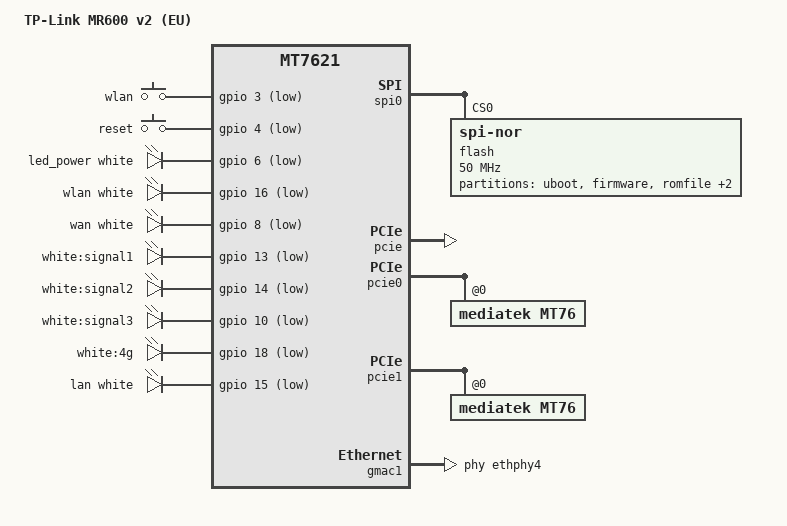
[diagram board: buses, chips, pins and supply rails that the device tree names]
// SPDX-License-Identifier: GPL-2.0-or-later

#include "mt7621.dtsi"

#include <dt-bindings/gpio/gpio.h>
#include <dt-bindings/input/input.h>
#include <dt-bindings/leds/common.h>

/ {
	compatible = "tplink,mr600-v2-eu", "mediatek,mt7621-soc";
	model = "TP-Link MR600 v2 (EU)";

	aliases {
		led-boot = &led_power;
		led-failsafe = &led_power;
		led-running = &led_power;
		led-upgrade = &led_power;
		label-mac-device = &gmac0;
	};

	chosen {
		bootargs = "console=ttyS0,115200";
	};

	keys {
		compatible = "gpio-keys";

		wlan {
			label = "wlan";
			gpios = <&gpio 3 GPIO_ACTIVE_LOW>;
			linux,code = <KEY_WLAN>;
		};

		reset {
			label = "reset";
			gpios = <&gpio 4 GPIO_ACTIVE_LOW>;
			linux,code = <KEY_RESTART>;
		};
	};

	leds {
		compatible = "gpio-leds";

		led_power: power {
			function = LED_FUNCTION_POWER;
			color = <LED_COLOR_ID_WHITE>;
			gpios = <&gpio 6 GPIO_ACTIVE_LOW>;
		};
		wlan {
			function = LED_FUNCTION_WLAN;
			color = <LED_COLOR_ID_WHITE>;
			gpios = <&gpio 16 GPIO_ACTIVE_LOW>;
			linux,default-trigger = "phy1tpt";
		};
		wan {
			function = LED_FUNCTION_WAN;
			color = <LED_COLOR_ID_WHITE>;
			gpios = <&gpio 8 GPIO_ACTIVE_LOW>;
		};

		signal1 {
			label = "white:signal1";
			gpios = <&gpio 13 GPIO_ACTIVE_LOW>;
		};

		signal2 {
			label = "white:signal2";
			gpios = <&gpio 14 GPIO_ACTIVE_LOW>;
		};

		signal3 {
			label = "white:signal3";
			gpios = <&gpio 10 GPIO_ACTIVE_LOW>;
		};

		4g {
			label = "white:4g";
			gpios = <&gpio 18 GPIO_ACTIVE_LOW>;
		};
		lan {
			function = LED_FUNCTION_LAN;
			color = <LED_COLOR_ID_WHITE>;
			gpios = <&gpio 15 GPIO_ACTIVE_LOW>;
		};
	};

};

&spi0 {
	status = "okay";

	flash@0 {
		compatible = "jedec,spi-nor";
		reg = <0>;
		spi-max-frequency = <50000000>;

		partitions {
			compatible = "fixed-partitions";
			#address-cells = <1>;
			#size-cells = <1>;

			partition@0 {
				label = "uboot";
				reg = <0x00000 0x20000>;
				read-only;
			};

			partition@20000 {
				compatible = "openwrt,uimage";
				openwrt,offset = <512>; /* account for the 512-byte long header */
				label = "firmware";
				reg = <0x20000 0xfa0000>;
			};

			partition@fc0000 {
				label = "romfile";
				reg = <0xfc0000 0x10000>;
				read-only;

				nvmem-layout {
					compatible = "fixed-layout";
					#address-cells = <1>;
					#size-cells = <1>;

					macaddr_romfile_f100: romfile@f100 {
						compatible = "mac-base";
						reg = <0xf100 0x6>;
						#nvmem-cell-cells = <1>;
					};
				};
			};

			partition@fd0000 {
				label = "config";
				reg = <0xfd0000 0x10000>;
				read-only;
			};

			partition@fe0000 {
				label = "radio";
				reg = <0xfe0000 0x10000>;
				read-only;

				nvmem-layout {
					compatible = "fixed-layout";
					#address-cells = <1>;
					#size-cells = <1>;

					eeprom_radio_0: eeprom@0 {
						reg = <0x0 0x400>;
					};

					eeprom_radio_8000: eeprom@8000 {
						reg = <0x8000 0x4da8>;
					};
				};
			};
		};
	};
};

&pcie {
	status = "okay";
};


&pcie0 {
	mt76@0,0 {
		compatible = "mediatek,mt76";
		reg = <0x0000 0 0 0 0>;
		nvmem-cells = <&eeprom_radio_0>, <&macaddr_romfile_f100 0>;
		nvmem-cell-names = "eeprom", "mac-address";
		ieee80211-freq-limit = <2400000 2500000>;
	};
};

&pcie1 {
	mt76@0,0 {
		compatible = "mediatek,mt76";
		reg = <0x0000 0 0 0 0>;
		ieee80211-freq-limit = <5000000 6000000>;
		nvmem-cells = <&eeprom_radio_8000>, <&macaddr_romfile_f100 (-1)>;
		nvmem-cell-names = "eeprom", "mac-address";
	};
};

&gmac0 {
	nvmem-cells = <&macaddr_romfile_f100 0>;
	nvmem-cell-names = "mac-address";
};

&gmac1 {
	status = "okay";
	label = "wan";
	phy-handle = <&ethphy4>;

	nvmem-cells = <&macaddr_romfile_f100 0>;
	nvmem-cell-names = "mac-address";
};

&ethphy4 {
	/delete-property/ interrupts;
};

&switch0 {
	ports {
		port@1 {
			status = "okay";
			label = "lan1";
		};
		port@2 {
			status = "okay";
			label = "lan2";
		};
		port@3 {
			status = "okay";
			label = "lan3";
		};
	};
};
